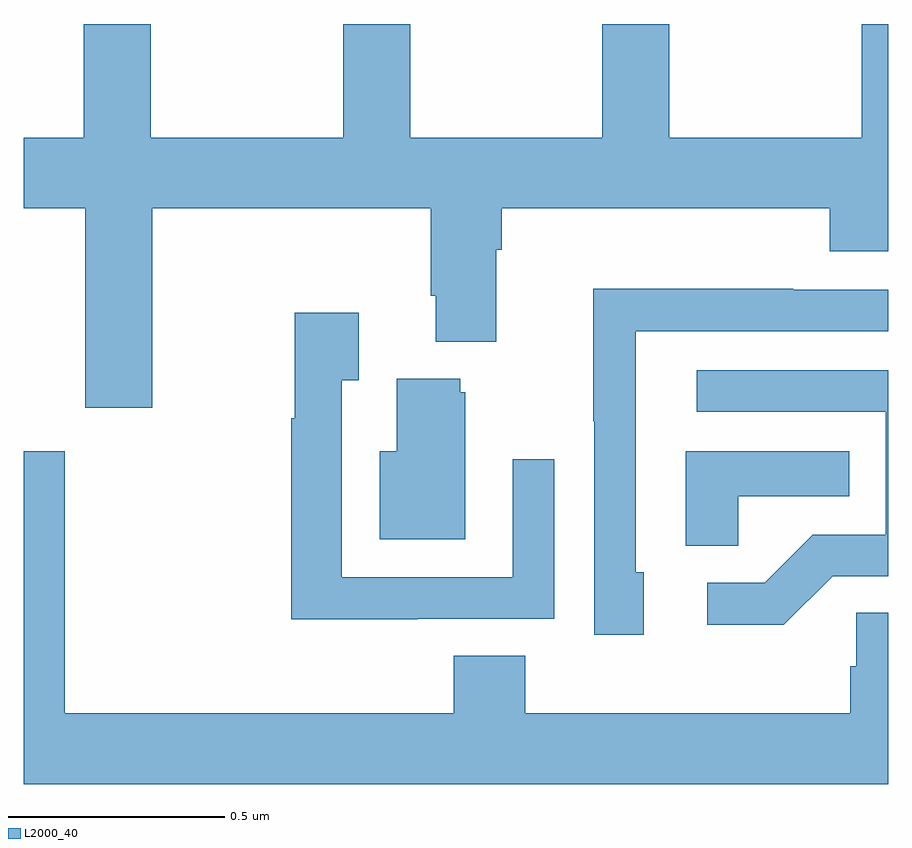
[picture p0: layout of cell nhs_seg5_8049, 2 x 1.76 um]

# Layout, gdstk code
import gdstk
lib = gdstk.Library(unit=1e-6, precision=1e-09)
def P(c, l, *ps):  # polygons
    for p in ps: c.add(gdstk.Polygon(p, *l))
L2000_40 = (2000, 40)

nhs_seg5_8049 = lib.new_cell('nhs_seg5_8049')
P(nhs_seg5_8049, L2000_40, [(216.297,911.372),(216.941,911.372),(216.941,911.17),(216.953,911.17),(216.953,911.063),(217.093,911.063),(217.093,911.276),(217.106,911.276),(217.106,911.372),(217.865,911.372),(217.865,911.273),(218,911.273),(218,911.799),(217.939,911.799),(217.939,911.536),(217.494,911.536),(217.494,911.799),(217.339,911.799),(217.339,911.536),(216.894,911.536),(216.894,911.799),(216.739,911.799),(216.739,911.536),(216.294,911.536),(216.294,911.799),(216.139,911.799),(216.139,911.536),(216,911.536),(216,911.372),(216.142,911.372),(216.142,910.911),(216.297,910.911)],
  [(217.435,910.53),(217.416,910.53),(217.416,911.088),(218,911.088),(218,911.184),(217.781,911.184),(217.781,911.186),(217.318,911.186),(217.318,910.879),(217.32,910.879),(217.32,910.386),(217.435,910.386)],
  [(216.911,910.422),(217.227,910.422),(217.227,910.792),(217.131,910.792),(217.131,910.518),(216.735,910.518),(216.735,910.975),(216.775,910.975),(216.775,911.131),(216.627,911.131),(216.627,910.886),(216.619,910.886),(216.619,910.421),(216.911,910.421)],
  [(217.872,910.521),(218,910.521),(218,910.998),(217.557,910.998),(217.557,910.902),(217.995,910.902),(217.995,910.617),(217.826,910.617),(217.715,910.506),(217.581,910.506),(217.581,910.409),(217.759,910.409)],
  [(217.021,910.947),(217.01,910.947),(217.01,910.978),(216.863,910.978),(216.863,910.81),(216.824,910.81),(216.824,910.607),(217.021,910.607)],
  [(218,910.436),(217.926,910.436),(217.926,910.313),(217.913,910.313),(217.913,910.204),(217.16,910.204),(217.16,910.337),(216.995,910.337),(216.995,910.204),(216.094,910.204),(216.094,910.81),(216,910.81),(216,910.04),(218,910.04)],
  [(217.653,910.706),(217.91,910.706),(217.91,910.81),(217.532,910.81),(217.532,910.591),(217.653,910.591)])

lib.write_gds('nhs_seg5_8049.gds')
